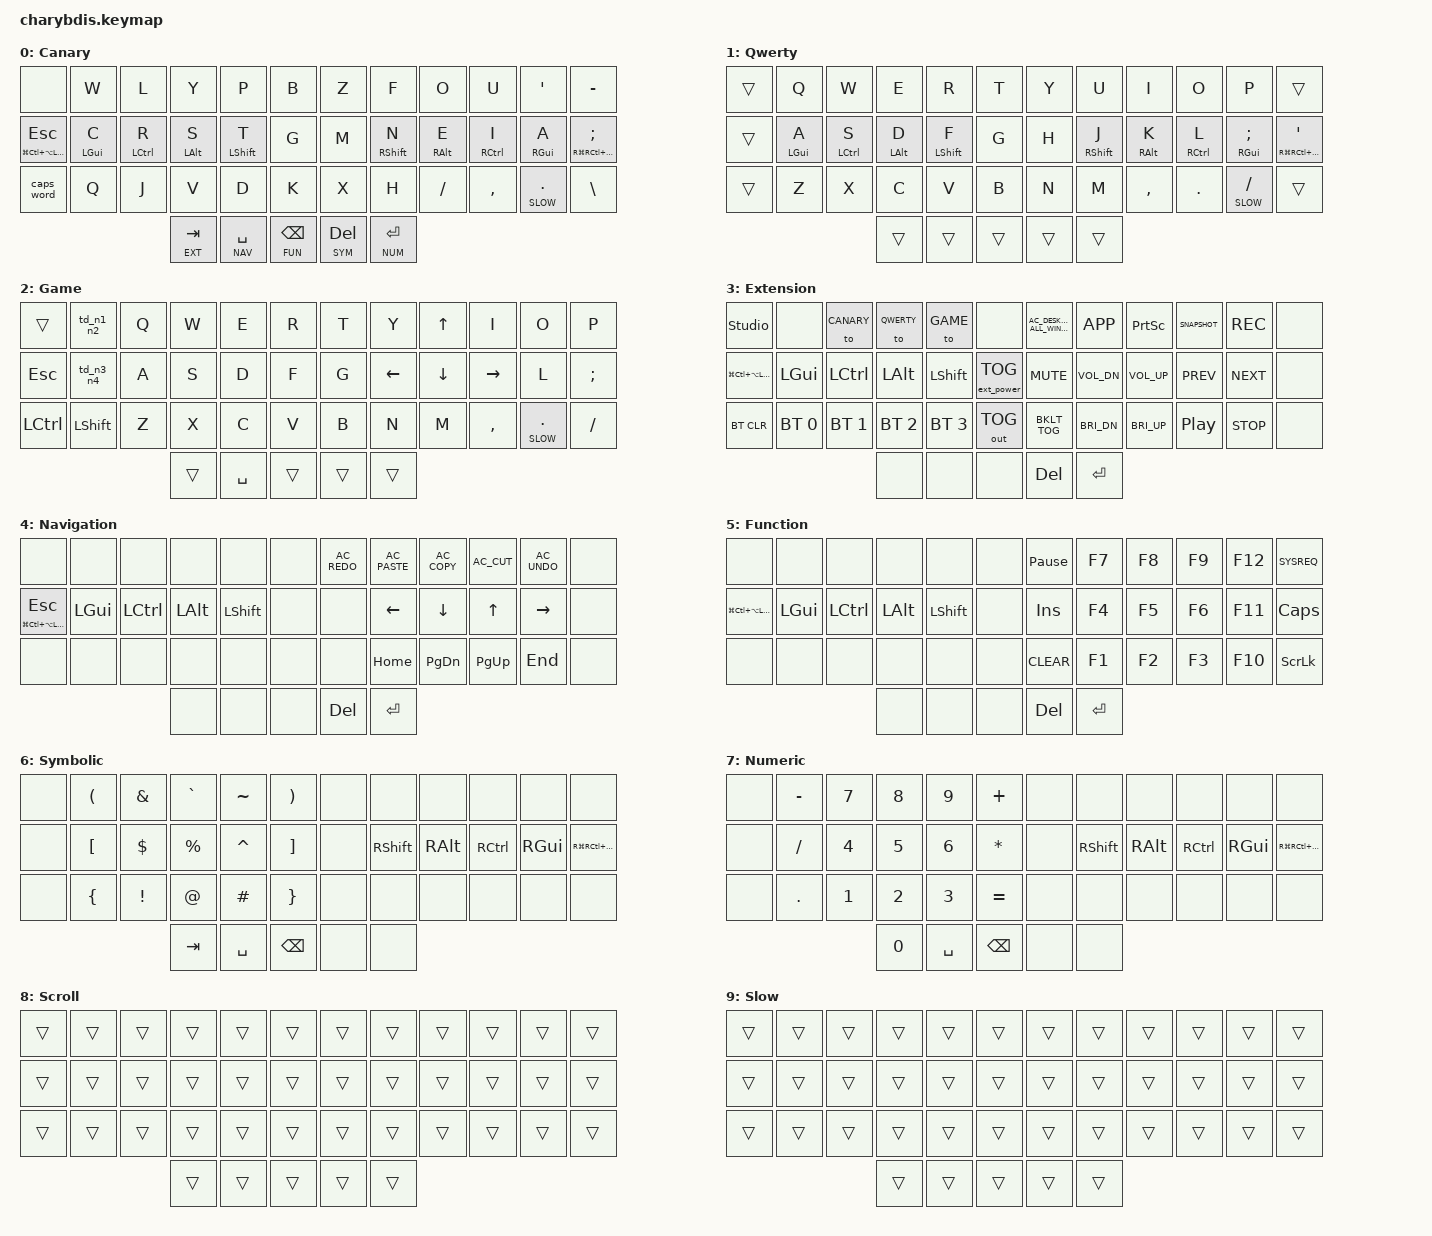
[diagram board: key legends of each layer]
#include <behaviors.dtsi>
#include <behaviors/mouse_keys.dtsi>
#include <dt-bindings/zmk/bt.h>
#include <dt-bindings/zmk/ext_power.h>
#include <dt-bindings/zmk/keys.h>
#include <dt-bindings/zmk/mouse.h>
#include <dt-bindings/zmk/outputs.h>
#include <dt-bindings/zmk/pointing.h>

#include "macros.dtsi"
#include "behaviors.dtsi"
#include "combos.dtsi"

#define CANARY 0
#define QWERTY 1
#define GAME   2
#define EXT    3
#define NAV    4
#define FUN    5
#define SYM    6
#define NUM    7
#define SCROLL 8
#define SLOW   9

#define LHYPR LG(LC(LA(LSHFT)))
#define RHYPR RG(RC(RA(RSHFT)))

/ {
    /* --- KEYMAP CONFIG --- */
    // ╭──────┬──────┬──────┬──────┬──────┬──────╮  ╭──────┬──────┬──────┬──────┬──────┬──────╮
    //    00     01     02     03     04     05        06     07     08     09     10     11
    // ├──────┼──────┼──────┼──────┼──────┼──────┤  ├──────┼──────┼──────┼──────┼──────┼──────┤
    //    12     13     14     15     16     17        18     19     20     21     22     23
    // ├──────┼──────┼──────┼──────┼──────┼──────┤  ├──────┼──────┼──────┼──────┼──────┼──────┤
    //    24     25     26     27     28     29        30     31     32     33     34     35
    // ╰──────┴──────┴──────┼──────┼──────┼──────┤  ├──────┼──────┼──────┴──────┴──────┴──────╯
    //                         36     37     38        39     40
    //                      ╰──────┴──────┴──────╯  ╰──────┴──────╯

    keymap {
        compatible = "zmk,keymap";

        CANARY {
            display-name = "Canary";
            bindings = <
&none               &kp W            &kp L             &kp Y            &kp P             &kp B         &kp Z        &kp F              &kp O             &kp U              &kp SQT             &kp MINUS
&mt_left LHYPR ESC  &mt_left LGUI C  &mt_left LCTRL R  &mt_left LALT S  &mt_left LSHFT T  &kp G         &kp M        &mt_right RSHFT N  &mt_right RALT E  &mt_right RCTRL I  &mt_right RGUI A    &mt_right RHYPR SEMI
&caps_word          &kp Q            &kp J             &kp V            &kp D             &kp K         &kp X        &kp H              &kp FSLH          &kp COMMA          &lt_eager SLOW DOT  &kp BSLH
                                                       &lt EXT TAB      &lt NAV SPACE     &lt FUN BSPC  &lt SYM DEL  &lt NUM RET
            >;
        };

        QWERTY {
            display-name = "Qwerty";
            bindings = <
&trans  &kp Q            &kp W             &kp E            &kp R             &kp T     &kp Y   &kp U              &kp I             &kp O              &kp P                &trans
&trans  &mt_left LGUI A  &mt_left LCTRL S  &mt_left LALT D  &mt_left LSHFT F  &kp G     &kp H   &mt_right RSHFT J  &mt_right RALT K  &mt_right RCTRL L  &mt_right RGUI SEMI  &mt_right RHYPR SQT
&trans  &kp Z            &kp X             &kp C            &kp V             &kp B     &kp N   &kp M              &kp COMMA         &kp DOT            &lt_eager SLOW FSLH  &trans
                                           &trans           &trans            &trans    &trans  &trans
            >;
        };

        GAME {
            display-name = "Game";
            bindings = <
&trans     &td_n1_n2  &kp Q  &kp W   &kp E      &kp R     &kp T   &kp Y     &kp UP    &kp I      &kp O               &kp P
&kp ESC    &td_n3_n4  &kp A  &kp S   &kp D      &kp F     &kp G   &kp LEFT  &kp DOWN  &kp RIGHT  &kp L               &kp SEMI
&kp LCTRL  &kp LSHFT  &kp Z  &kp X   &kp C      &kp V     &kp B   &kp N     &kp M     &kp COMMA  &lt_eager SLOW DOT  &kp FSLH
                             &trans  &kp SPACE  &trans    &trans  &trans
            >;
        };

        EXT {
            display-name = "Extension";
            bindings = <
&studio_unlock  &none         &to CANARY    &to QWERTY    &to GAME      &none                &kp C_AC_DESKTOP_SHOW_ALL_WINDOWS  &kp K_APP     &kp PSCRN     &kp C_SNAPSHOT    &kp C_REC   &none
&kp LHYPR       &kp LGUI      &kp LCTRL     &kp LALT      &kp LSHFT     &ext_power EP_TOG    &kp C_MUTE                         &kp C_VOL_DN  &kp C_VOL_UP  &kp C_PREV        &kp C_NEXT  &none
&bt BT_CLR      &bt BT_SEL 0  &bt BT_SEL 1  &bt BT_SEL 2  &bt BT_SEL 3  &out OUT_TOG         &kp C_BKLT_TOG                     &kp C_BRI_DN  &kp C_BRI_UP  &kp C_PLAY_PAUSE  &kp C_STOP  &none
                                            &none         &none         &none                &kp DEL                            &kp RET
            >;
        };

        NAV {
            display-name = "Navigation";
            bindings = <
&none               &none     &none      &none     &none      &none    &kp C_AC_REDO  &kp C_AC_PASTE  &kp C_AC_COPY  &kp C_AC_CUT  &kp C_AC_UNDO  &none
&mt_left LHYPR ESC  &kp LGUI  &kp LCTRL  &kp LALT  &kp LSHFT  &none    &none          &kp LEFT        &kp DOWN       &kp UP        &kp RIGHT      &none
&none               &none     &none      &none     &none      &none    &none          &kp HOME        &kp PG_DN      &kp PG_UP     &kp END        &none
                                         &none     &none      &none    &kp DEL        &kp RET
            >;
        };

        FUN {
            display-name = "Function";
            bindings = <
&none      &none     &none      &none     &none      &none    &kp PAUSE_BREAK  &kp F7     &kp F8  &kp F9  &kp F12  &kp SYSREQ
&kp LHYPR  &kp LGUI  &kp LCTRL  &kp LALT  &kp LSHFT  &none    &kp INS          &kp F4     &kp F5  &kp F6  &kp F11  &kp CAPS
&none      &none     &none      &none     &none      &none    &kp CLEAR        &kp F1     &kp F2  &kp F3  &kp F10  &kp SLCK
                                &none     &none      &none    &kp DEL          &kp RET
            >;
        };

        SYM {
            display-name = "Symbolic";
            bindings = <
&none  &kp LPAR  &kp AMPS  &kp GRAVE  &kp TILDE  &kp RPAR    &none  &none      &none     &none      &none     &none
&none  &kp LBKT  &kp DLLR  &kp PRCNT  &kp CARET  &kp RBKT    &none  &kp RSHFT  &kp RALT  &kp RCTRL  &kp RGUI  &kp RHYPR
&none  &kp LBRC  &kp EXCL  &kp AT     &kp HASH   &kp RBRC    &none  &none      &none     &none      &none     &none
                           &kp TAB    &kp SPACE  &kp BSPC    &none  &none
            >;
        };

        NUM {
            display-name = "Numeric";
            bindings = <
&none  &kp MINUS  &kp N7  &kp N8  &kp N9     &kp PLUS     &none  &none      &none     &none      &none     &none
&none  &kp FSLH   &kp N4  &kp N5  &kp N6     &kp STAR     &none  &kp RSHFT  &kp RALT  &kp RCTRL  &kp RGUI  &kp RHYPR
&none  &kp DOT    &kp N1  &kp N2  &kp N3     &kp EQUAL    &none  &none      &none     &none      &none     &none
                          &kp N0  &kp SPACE  &kp BSPC     &none  &none
            >;
        };

        SCROLL {
            display-name = "Scroll";
            bindings = <
&trans  &trans  &trans  &trans  &trans  &trans    &trans  &trans  &trans  &trans  &trans  &trans
&trans  &trans  &trans  &trans  &trans  &trans    &trans  &trans  &trans  &trans  &trans  &trans
&trans  &trans  &trans  &trans  &trans  &trans    &trans  &trans  &trans  &trans  &trans  &trans
                        &trans  &trans  &trans    &trans  &trans
            >;
        };

        SLOW {
            display-name = "Slow";
            bindings = <
&trans  &trans  &trans  &trans  &trans  &trans    &trans  &trans  &trans  &trans  &trans  &trans
&trans  &trans  &trans  &trans  &trans  &trans    &trans  &trans  &trans  &trans  &trans  &trans
&trans  &trans  &trans  &trans  &trans  &trans    &trans  &trans  &trans  &trans  &trans  &trans
                        &trans  &trans  &trans    &trans  &trans
            >;
        };
    };
};
